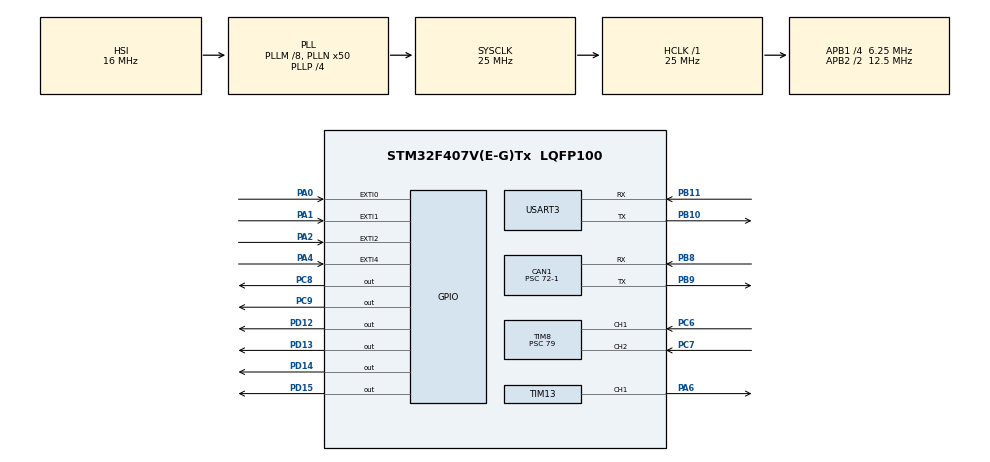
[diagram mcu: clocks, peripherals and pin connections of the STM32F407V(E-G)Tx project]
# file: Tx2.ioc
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CAN1.BS1=CAN_BS1_2TQ
CAN1.CalculateBaudRate=22007
CAN1.CalculateTimeBit=45440
CAN1.CalculateTimeQuantum=11360.0
CAN1.Prescaler=72-1
Mcu.Family=STM32F4
Mcu.Name=STM32F407V(E-G)Tx
Mcu.Package=LQFP100
NVIC.CAN1_RX0_IRQn=true\:0\:0\:false\:false\:true\:true\:true\:true
NVIC.EXTI0_IRQn=true\:0\:0\:false\:false\:true\:true\:true\:true
NVIC.EXTI1_IRQn=true\:0\:0\:false\:false\:true\:true\:true\:true
NVIC.EXTI2_IRQn=true\:0\:0\:false\:false\:true\:true\:true\:true
NVIC.EXTI4_IRQn=true\:0\:0\:false\:false\:true\:true\:true\:true
NVIC.PriorityGroup=NVIC_PRIORITYGROUP_0
PA0-WKUP.Signal=GPXTI0
PA1.Signal=GPXTI1
PA2.Signal=GPXTI2
PA4.Signal=GPXTI4
PA6.Signal=S_TIM13_CH1
PB10.Mode=Asynchronous
PB10.Signal=USART3_TX
PB11.Mode=Asynchronous
PB11.Signal=USART3_RX
PB8.Mode=CAN_Activate
PB8.Signal=CAN1_RX
PB9.Mode=CAN_Activate
PB9.Signal=CAN1_TX
PC6.Signal=S_TIM8_CH1
PC7.Signal=S_TIM8_CH2
PC8.Signal=GPIO_Output
PC9.Signal=GPIO_Output
PD12.Signal=GPIO_Output
PD13.Signal=GPIO_Output
PD14.Signal=GPIO_Output
PD15.Signal=GPIO_Output
PH0-OSC_IN.Mode=HSE-External-Oscillator
PH0-OSC_IN.Signal=RCC_OSC_IN
PH1-OSC_OUT.Mode=HSE-External-Oscillator
PH1-OSC_OUT.Signal=RCC_OSC_OUT
ProjectManager.HeapSize=0x200
ProjectManager.StackSize=0x400
ProjectManager.TargetToolchain=STM32CubeIDE
RCC.48MHZClocksFreq_Value=14285714.285714285
RCC.AHBFreq_Value=25000000
RCC.APB1CLKDivider=RCC_HCLK_DIV4
RCC.APB1Freq_Value=6250000
RCC.APB1TimFreq_Value=12500000
RCC.APB2CLKDivider=RCC_HCLK_DIV2
RCC.APB2Freq_Value=12500000
RCC.APB2TimFreq_Value=25000000
RCC.CortexFreq_Value=25000000
RCC.HCLKFreq_Value=25000000
RCC.HSE_VALUE=8000000
RCC.HSI_VALUE=16000000
RCC.LSE_VALUE=32768
RCC.PLLM=8
RCC.PLLN=50
RCC.PLLP=RCC_PLLP_DIV4
RCC.PLLQ=7
RCC.SYSCLKFreq_VALUE=25000000
RCC.SYSCLKSource=RCC_SYSCLKSOURCE_PLLCLK
RCC.VCOOutputFreq_Value=100000000
SH.S_TIM13_CH1.0=TIM13_CH1,PWM Generation1 CH1
SH.S_TIM8_CH1.0=TIM8_CH1,Input_Capture1_from_TI1
SH.S_TIM8_CH2.0=TIM8_CH2,TriggerSource_TI2FP2
SH.S_TIM8_CH2.1=TIM8_CH2,Input_Capture2_from_TI2
TIM13.Channel=TIM_CHANNEL_1
TIM13.Period=39999
TIM13.Prescaler=199
TIM8.Channel-Input_Capture1_from_TI1=TIM_CHANNEL_1
TIM8.Channel-Input_Capture2_from_TI2=TIM_CHANNEL_2
TIM8.ICPolarity_CH1=TIM_INPUTCHANNELPOLARITY_BOTHEDGE
TIM8.ICPolarity_CH2=TIM_INPUTCHANNELPOLARITY_BOTHEDGE
TIM8.Prescaler=79
USART3.VirtualMode=VM_ASYNC
VP_TIM13_VS_ClockSourceINT.Mode=Enable_Timer
VP_TIM8_VS_ControllerModeReset.Mode=Reset Mode
board=STM32F407G-DISC1

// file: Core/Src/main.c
/* USER CODE BEGIN Header */
/**
  ******************************************************************************
  * @file           : main.c
  * @brief          : Main program body
  ******************************************************************************
  * @attention
  *
  * Copyright (c) 2023 STMicroelectronics.
  * All rights reserved.
  *
  * This software is licensed under terms that can be found in the LICENSE file
  * in the root directory of this software component.
  * If no LICENSE file comes with this software, it is provided AS-IS.
  *
  ******************************************************************************
  */
/* USER CODE END Header */
#include "main.h"

/* USER CODE BEGIN Includes */
#include <stdio.h>
/* USER CODE END Includes */

CAN_HandleTypeDef hcan1;

TIM_HandleTypeDef htim8;
TIM_HandleTypeDef htim13;

UART_HandleTypeDef huart3;

/* USER CODE BEGIN PV */
#ifdef __GNUC__
#define PUTCHAR_PROTOTYPE int __io_putchar(int ch)
#else
#define PUTCHAR_PROTOTYPE int fputc(int ch,FILE *f)
#endif

PUTCHAR_PROTOTYPE{
	HAL_UART_Transmit(&huart3, (uint8_t *)&ch, 1, 10);
	return ch;
}

uint32_t echo1,echo2,delay;
uint32_t dis1,dist2;
/* USER CODE END PV */

void SystemClock_Config(void);
static void MX_GPIO_Init(void);
static void MX_CAN1_Init(void);
static void MX_TIM13_Init(void);
static void MX_TIM8_Init(void);
static void MX_USART3_UART_Init(void);

/* USER CODE BEGIN 0 */
int Switch_Flag = 0;
CAN_TxHeaderTypeDef TxHeader;
uint8_t TxData[5];
uint32_t TxMailBox;

/* USER CODE END 0 */

int main(void)
{

  /* MCU Configuration--------------------------------------------------------*/

  /* Reset of all peripherals, Initializes the Flash interface and the Systick. */
  HAL_Init();

  /* Configure the system clock */
  SystemClock_Config();

  /* Initialize all configured peripherals */
  MX_GPIO_Init();
  MX_CAN1_Init();
  MX_TIM13_Init();
  MX_TIM8_Init();
  MX_USART3_UART_Init();
  /* USER CODE BEGIN 2 */
  HAL_CAN_Start(&hcan1);
  HAL_CAN_ActivateNotification(&hcan1, CAN_IT_RX_FIFO0_MSG_PENDING);
  HAL_Delay(100);
  HAL_Delay(100);

  TxHeader.DLC=3;
  TxHeader.RTR=CAN_RTR_DATA;
  TxHeader.IDE=CAN_ID_STD;
  TxHeader.ExtId=0x0;
  TxHeader.StdId=0x0AA;
  TxHeader.TransmitGlobalTime=DISABLE;

  HAL_TIM_Base_Start(&htim13);
   HAL_TIM_Base_Start(&htim13);
   HAL_TIM_PWM_Start(&htim13, TIM_CHANNEL_1);
   HAL_TIM_IC_Start(&htim8, TIM_CHANNEL_1);
   HAL_TIM_IC_Start(&htim8, TIM_CHANNEL_2);
   TIM13->CCR1=3;

  /* USER CODE END 2 */

  /* Infinite loop */
  /* USER CODE BEGIN WHILE */
  while (1)
  {
	 	  		  while(1)
	 	  		  {
	 	  			 if(HAL_GetTick()-delay >= 1000){
	 	  				 delay = HAL_GetTick();
	 	    	  		  echo2 = HAL_TIM_ReadCapturedValue(&htim8, TIM_CHANNEL_2);
	 	  		  		  dist2 = ((echo2 * 0.0340)/2);
	 	  				  printf("echo2 : %u , Dis2 : %d\r\n",echo2,dist2);

	 	  				  if(dist2 < 5)
	 	  				  {
	 	  					  TxData[0] = '5';
	 	  					  if (HAL_CAN_AddTxMessage(&hcan1, &TxHeader, TxData, &TxMailBox) != HAL_OK)
	 	  						  Error_Handler();
	 	  					  HAL_GPIO_WritePin(GPIOD, GPIO_PIN_14, GPIO_PIN_SET);
	 	  				  }

	 	  			}
 	  		  }

    /* USER CODE END WHILE */

    /* USER CODE BEGIN 3 */

 // }
  }
  /* USER CODE END 3 */
}

void SystemClock_Config(void)
{
  RCC_OscInitTypeDef RCC_OscInitStruct = {0};
  RCC_ClkInitTypeDef RCC_ClkInitStruct = {0};

  /** Configure the main internal regulator output voltage
  */
  __HAL_RCC_PWR_CLK_ENABLE();
  __HAL_PWR_VOLTAGESCALING_CONFIG(PWR_REGULATOR_VOLTAGE_SCALE1);

  /** Initializes the RCC Oscillators according to the specified parameters
  * in the RCC_OscInitTypeDef structure.
  */
  RCC_OscInitStruct.OscillatorType = RCC_OSCILLATORTYPE_HSI;
  RCC_OscInitStruct.HSIState = RCC_HSI_ON;
  RCC_OscInitStruct.HSICalibrationValue = RCC_HSICALIBRATION_DEFAULT;
  RCC_OscInitStruct.PLL.PLLState = RCC_PLL_ON;
  RCC_OscInitStruct.PLL.PLLSource = RCC_PLLSOURCE_HSI;
  RCC_OscInitStruct.PLL.PLLM = 8;
  RCC_OscInitStruct.PLL.PLLN = 50;
  RCC_OscInitStruct.PLL.PLLP = RCC_PLLP_DIV4;
  RCC_OscInitStruct.PLL.PLLQ = 7;
  if (HAL_RCC_OscConfig(&RCC_OscInitStruct) != HAL_OK)
  {
    Error_Handler();
  }

  /** Initializes the CPU, AHB and APB buses clocks
  */
  RCC_ClkInitStruct.ClockType = RCC_CLOCKTYPE_HCLK|RCC_CLOCKTYPE_SYSCLK
                              |RCC_CLOCKTYPE_PCLK1|RCC_CLOCKTYPE_PCLK2;
  RCC_ClkInitStruct.SYSCLKSource = RCC_SYSCLKSOURCE_PLLCLK;
  RCC_ClkInitStruct.AHBCLKDivider = RCC_SYSCLK_DIV1;
  RCC_ClkInitStruct.APB1CLKDivider = RCC_HCLK_DIV4;
  RCC_ClkInitStruct.APB2CLKDivider = RCC_HCLK_DIV2;

  if (HAL_RCC_ClockConfig(&RCC_ClkInitStruct, FLASH_LATENCY_0) != HAL_OK)
  {
    Error_Handler();
  }
}

static void MX_CAN1_Init(void)
{

  hcan1.Instance = CAN1;
  hcan1.Init.Prescaler = 72-1;
  hcan1.Init.Mode = CAN_MODE_NORMAL;
  hcan1.Init.SyncJumpWidth = CAN_SJW_1TQ;
  hcan1.Init.TimeSeg1 = CAN_BS1_2TQ;
  hcan1.Init.TimeSeg2 = CAN_BS2_1TQ;
  hcan1.Init.TimeTriggeredMode = DISABLE;
  hcan1.Init.AutoBusOff = DISABLE;
  hcan1.Init.AutoWakeUp = DISABLE;
  hcan1.Init.AutoRetransmission = DISABLE;
  hcan1.Init.ReceiveFifoLocked = DISABLE;
  hcan1.Init.TransmitFifoPriority = DISABLE;
  if (HAL_CAN_Init(&hcan1) != HAL_OK)
  {
    Error_Handler();
  }
  /* USER CODE BEGIN CAN1_Init 2 */
  CAN_FilterTypeDef canFilterConfig;
   canFilterConfig.FilterActivation=CAN_FILTER_ENABLE;
   canFilterConfig.SlaveStartFilterBank=14;
   canFilterConfig.FilterBank=2;
   canFilterConfig.FilterFIFOAssignment=CAN_RX_FIFO0;
   canFilterConfig.FilterScale=CAN_FILTERSCALE_32BIT;
   canFilterConfig.FilterMode=CAN_FILTERMODE_IDMASK;
   canFilterConfig.FilterMaskIdLow=0x0000;
   canFilterConfig.FilterMaskIdHigh=0xFF00;
   canFilterConfig.FilterIdLow=0x0000;
   canFilterConfig.FilterIdHigh=0x1500;
   HAL_CAN_ConfigFilter(&hcan1, &canFilterConfig);
  /* USER CODE END CAN1_Init 2 */

}

static void MX_TIM8_Init(void)
{

  TIM_SlaveConfigTypeDef sSlaveConfig = {0};
  TIM_MasterConfigTypeDef sMasterConfig = {0};
  TIM_IC_InitTypeDef sConfigIC = {0};

  htim8.Instance = TIM8;
  htim8.Init.Prescaler = 79;
  htim8.Init.CounterMode = TIM_COUNTERMODE_UP;
  htim8.Init.Period = 65535;
  htim8.Init.ClockDivision = TIM_CLOCKDIVISION_DIV1;
  htim8.Init.RepetitionCounter = 0;
  htim8.Init.AutoReloadPreload = TIM_AUTORELOAD_PRELOAD_DISABLE;
  if (HAL_TIM_Base_Init(&htim8) != HAL_OK)
  {
    Error_Handler();
  }
  if (HAL_TIM_IC_Init(&htim8) != HAL_OK)
  {
    Error_Handler();
  }
  sSlaveConfig.SlaveMode = TIM_SLAVEMODE_RESET;
  sSlaveConfig.InputTrigger = TIM_TS_TI2FP2;
  sSlaveConfig.TriggerPolarity = TIM_INPUTCHANNELPOLARITY_BOTHEDGE;
  sSlaveConfig.TriggerFilter = 0;
  if (HAL_TIM_SlaveConfigSynchro(&htim8, &sSlaveConfig) != HAL_OK)
  {
    Error_Handler();
  }
  sMasterConfig.MasterOutputTrigger = TIM_TRGO_RESET;
  sMasterConfig.MasterSlaveMode = TIM_MASTERSLAVEMODE_DISABLE;
  if (HAL_TIMEx_MasterConfigSynchronization(&htim8, &sMasterConfig) != HAL_OK)
  {
    Error_Handler();
  }
  sConfigIC.ICPolarity = TIM_INPUTCHANNELPOLARITY_BOTHEDGE;
  sConfigIC.ICSelection = TIM_ICSELECTION_DIRECTTI;
  sConfigIC.ICPrescaler = TIM_ICPSC_DIV1;
  sConfigIC.ICFilter = 0;
  if (HAL_TIM_IC_ConfigChannel(&htim8, &sConfigIC, TIM_CHANNEL_1) != HAL_OK)
  {
    Error_Handler();
  }
  if (HAL_TIM_IC_ConfigChannel(&htim8, &sConfigIC, TIM_CHANNEL_2) != HAL_OK)
  {
    Error_Handler();
  }

}

static void MX_TIM13_Init(void)
{

  TIM_OC_InitTypeDef sConfigOC = {0};

  htim13.Instance = TIM13;
  htim13.Init.Prescaler = 199;
  htim13.Init.CounterMode = TIM_COUNTERMODE_UP;
  htim13.Init.Period = 39999;
  htim13.Init.ClockDivision = TIM_CLOCKDIVISION_DIV1;
  htim13.Init.AutoReloadPreload = TIM_AUTORELOAD_PRELOAD_DISABLE;
  if (HAL_TIM_Base_Init(&htim13) != HAL_OK)
  {
    Error_Handler();
  }
  if (HAL_TIM_PWM_Init(&htim13) != HAL_OK)
  {
    Error_Handler();
  }
  sConfigOC.OCMode = TIM_OCMODE_PWM1;
  sConfigOC.Pulse = 0;
  sConfigOC.OCPolarity = TIM_OCPOLARITY_HIGH;
  sConfigOC.OCFastMode = TIM_OCFAST_DISABLE;
  if (HAL_TIM_PWM_ConfigChannel(&htim13, &sConfigOC, TIM_CHANNEL_1) != HAL_OK)
  {
    Error_Handler();
  }
  HAL_TIM_MspPostInit(&htim13);

}

static void MX_USART3_UART_Init(void)
{

  huart3.Instance = USART3;
  huart3.Init.BaudRate = 115200;
  huart3.Init.WordLength = UART_WORDLENGTH_8B;
  huart3.Init.StopBits = UART_STOPBITS_1;
  huart3.Init.Parity = UART_PARITY_NONE;
  huart3.Init.Mode = UART_MODE_TX_RX;
  huart3.Init.HwFlowCtl = UART_HWCONTROL_NONE;
  huart3.Init.OverSampling = UART_OVERSAMPLING_16;
  if (HAL_UART_Init(&huart3) != HAL_OK)
  {
    Error_Handler();
  }

}

static void MX_GPIO_Init(void)
{
  GPIO_InitTypeDef GPIO_InitStruct = {0};

  /* GPIO Ports Clock Enable */
  __HAL_RCC_GPIOH_CLK_ENABLE();
  __HAL_RCC_GPIOA_CLK_ENABLE();
  __HAL_RCC_GPIOB_CLK_ENABLE();
  __HAL_RCC_GPIOD_CLK_ENABLE();
  __HAL_RCC_GPIOC_CLK_ENABLE();

  /*Configure GPIO pin Output Level */
  HAL_GPIO_WritePin(GPIOD, GPIO_PIN_12|GPIO_PIN_13|GPIO_PIN_14|GPIO_PIN_15, GPIO_PIN_RESET);

  /*Configure GPIO pin Output Level */
  HAL_GPIO_WritePin(GPIOC, GPIO_PIN_8|GPIO_PIN_9, GPIO_PIN_RESET);

  /*Configure GPIO pins : PA0 PA1 PA2 PA4 */
  GPIO_InitStruct.Pin = GPIO_PIN_0|GPIO_PIN_1|GPIO_PIN_2|GPIO_PIN_4;
  GPIO_InitStruct.Mode = GPIO_MODE_IT_RISING;
  GPIO_InitStruct.Pull = GPIO_NOPULL;
  HAL_GPIO_Init(GPIOA, &GPIO_InitStruct);

  /*Configure GPIO pins : PD12 PD13 PD14 PD15 */
  GPIO_InitStruct.Pin = GPIO_PIN_12|GPIO_PIN_13|GPIO_PIN_14|GPIO_PIN_15;
  GPIO_InitStruct.Mode = GPIO_MODE_OUTPUT_PP;
  GPIO_InitStruct.Pull = GPIO_NOPULL;
  GPIO_InitStruct.Speed = GPIO_SPEED_FREQ_LOW;
  HAL_GPIO_Init(GPIOD, &GPIO_InitStruct);

  /*Configure GPIO pins : PC8 PC9 */
  GPIO_InitStruct.Pin = GPIO_PIN_8|GPIO_PIN_9;
  GPIO_InitStruct.Mode = GPIO_MODE_OUTPUT_PP;
  GPIO_InitStruct.Pull = GPIO_NOPULL;
  GPIO_InitStruct.Speed = GPIO_SPEED_FREQ_LOW;
  HAL_GPIO_Init(GPIOC, &GPIO_InitStruct);

  /* EXTI interrupt init*/
  HAL_NVIC_SetPriority(EXTI0_IRQn, 0, 0);
  HAL_NVIC_EnableIRQ(EXTI0_IRQn);

  HAL_NVIC_SetPriority(EXTI1_IRQn, 0, 0);
  HAL_NVIC_EnableIRQ(EXTI1_IRQn);

  HAL_NVIC_SetPriority(EXTI2_IRQn, 0, 0);
  HAL_NVIC_EnableIRQ(EXTI2_IRQn);

  HAL_NVIC_SetPriority(EXTI4_IRQn, 0, 0);
  HAL_NVIC_EnableIRQ(EXTI4_IRQn);

}

/* USER CODE BEGIN 4 */
void HAL_CAN_TxMailbox0CompleteCallback(CAN_HandleTypeDef *hcan)
{
	HAL_GPIO_WritePin(GPIOD, GPIO_PIN_15, GPIO_PIN_SET);
}

/* USER CODE END 4 */

void Error_Handler(void)
{
  __disable_irq();
  while (1)
  {
  }
}
